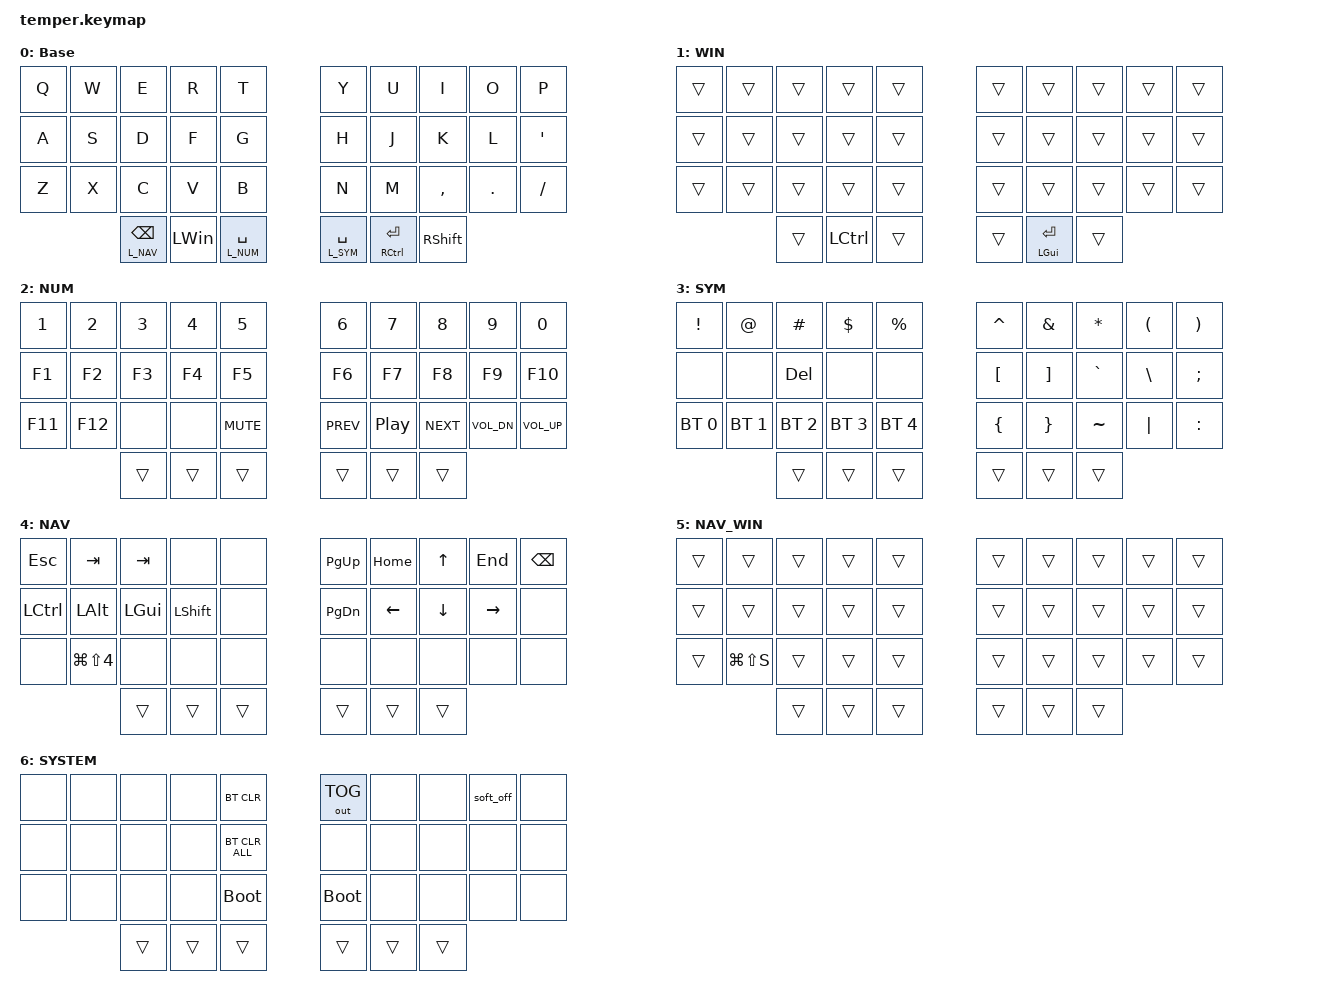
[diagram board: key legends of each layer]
/*
 * Copyright (c) 2020 duckyb
 *
 * SPDX-License-Identifier: MIT
 */

#include <dt-bindings/zmk/mouse.h>
#include <behaviors.dtsi>
#include <dt-bindings/zmk/bt.h>
#include <dt-bindings/zmk/keys.h>
#include <dt-bindings/zmk/outputs.h>

/*
 * Layer numbers. The screens (boards/shields/nice_view_legend) and src/os_layer.c follow them.
 * WIN sits just above Base so the held layers stay on top of it, and NAV_WIN just above NAV.
 */
#define L_BASE 0
#define L_WIN 1
#define L_NUM 2
#define L_SYM 3
#define L_NAV 4
#define L_NAV_WIN 5
#define L_SYSTEM 6

/* Drag out an area to screenshot: Cmd+Shift+4 on a Mac, and Snipping Tool on Windows */
#define SCREENSHOT_MAC LG(LS(N4))
#define SCREENSHOT_WIN LG(LS(S))

&sk { quick-release; };

/* Has to be held this long, so a stray press in a pocket can't turn it off */
&soft_off { hold-time-ms = <2000>; };

/* Balanced so rolling off Enter into the next letter doesn't send Ctrl+letter */
&mt { flavor = "balanced"; };

/*
 * Balanced so a fast roll off a thumb stays a tap, and the idle check so a thumb pressed
 * mid-typing taps straight away instead of waiting to see if it's a hold.
 */
&lt {
    flavor = "balanced";
    quick-tap-ms = <180>;
    require-prior-idle-ms = <125>;
};

/ {
    behaviors {
        hm: hm {
            compatible = "zmk,behavior-hold-tap";
            label = "HM";
            bindings = <&kp>, <&kp>;

            #binding-cells = <2>;
            quick-tap-ms = <170>;
            tapping-term-ms = <190>;
            global-quick-tap;
            flavor = "tap-preferred";
        };

        hml: hml {
            compatible = "zmk,behavior-hold-tap";
            label = "HML";
            bindings = <&kp>, <&kp>;

            #binding-cells = <2>;
            tapping-term-ms = <280>;
            quick-tap-ms = <175>;
            require-prior-idle-ms = <150>;
            flavor = "balanced";
            hold-trigger-on-release;
            hold-trigger-key-positions = <0 1 2 3 4 20 21 22 23 24 14 30 31 32 33 34 35 25 15 5 6 16 26 27 17 7 8 18 28 29 19 9>;
        };

        hmr: hmr {
            compatible = "zmk,behavior-hold-tap";
            label = "HMR";
            bindings = <&kp>, <&kp>;

            #binding-cells = <2>;
            tapping-term-ms = <280>;
            quick-tap-ms = <175>;
            require-prior-idle-ms = <150>;
            flavor = "balanced";
            hold-trigger-on-release;
            hold-trigger-key-positions = <0 10 20 21 1 11 12 2 3 4 24 14 13 23 22 30 31 32 33 34 35 25 26 28 27 29 9 8 7 6 5 15>;
        };

        mo_tog: mo_tog {
            compatible = "zmk,behavior-hold-tap";
            label = "MO_TOG";
            bindings = <&mo>, <&tog>;

            #binding-cells = <2>;
            tapping-term-ms = <200>;
            quick-tap-ms = <180>;
        };
    };

    combos {
        compatible = "zmk,combos";

        a {
            bindings = <&kp ENTER>;
            key-positions = <7 6>;
            layers = <L_BASE L_WIN>;
            timeout-ms = <30>;
        };

        c {
            bindings = <&kp BACKSPACE>;
            key-positions = <7 8>;
            layers = <L_BASE L_WIN>;
            timeout-ms = <30>;
        };

        d {
            bindings = <&kp ESC>;
            key-positions = <1 2>;
            layers = <L_BASE L_WIN>;
        };

        e {
            bindings = <&kp MINUS>;
            key-positions = <16 17>;
            layers = <L_BASE L_WIN>;
        };

        f {
            bindings = <&kp EQUAL>;
            key-positions = <17 18>;
            layers = <L_BASE L_WIN>;
        };

        g {
            bindings = <&kp TAB>;
            key-positions = <11 12>;
            layers = <L_BASE L_WIN>;
        };

        h {
            bindings = <&kp BACKSPACE>;
            key-positions = <9 8>;
            layers = <L_BASE L_WIN>;
        };
    };

    /* Holding both Space thumbs opens SYSTEM, so its keys can't be hit by a fast roll */
    conditional_layers {
        compatible = "zmk,conditional-layers";

        system_layer {
            if-layers = <L_NUM L_SYM>;
            then-layer = <L_SYSTEM>;
        };

        /* NAV on Windows: NAV's keys, with Windows shortcuts where they differ */
        nav_win_layer {
            if-layers = <L_WIN L_NAV>;
            then-layer = <L_NAV_WIN>;
        };
    };

    keymap {
        compatible = "zmk,keymap";

        base {
            label = "Base";
            display-name = "Base";
            bindings = <
  &kp Q  &kp W  &kp E                   &kp R        &kp T                 &kp Y        &kp U      &kp I      &kp O    &kp P
  &kp A  &kp S  &kp D                   &kp F        &kp G                 &kp H        &kp J      &kp K      &kp L    &kp SQT
  &kp Z  &kp X  &kp C                   &kp V        &kp B                 &kp N        &kp M      &kp COMMA  &kp DOT  &kp FSLH
                &lt L_NAV BACKSPACE     &kp LEFT_WIN  &lt L_NUM SPACE      &lt L_SYM SPACE  &mt RCTRL ENTER  &kp RSHFT
            >;
        };

        /*
         * Windows: Ctrl on the left middle thumb in place of Cmd, and holding Enter is Win (for Win+L
         * and the rest) where it was a second Ctrl. src/os_layer.c turns this on while Bluetooth
         * slot 3 (BT_SEL 2, the work computer) is selected and off for the rest.
         */
        win {
            display-name = "WIN";
            bindings = <
  &trans  &trans  &trans  &trans     &trans        &trans  &trans  &trans  &trans  &trans
  &trans  &trans  &trans  &trans     &trans        &trans  &trans  &trans  &trans  &trans
  &trans  &trans  &trans  &trans     &trans        &trans  &trans  &trans  &trans  &trans
                  &trans  &kp LCTRL  &trans        &trans  &mt LGUI ENTER  &trans
            >;
        };

        nav_num {
            display-name = "NUM";
            label = "NUM";
            bindings = <
  &kp N1   &kp N2   &kp N3  &kp N4  &kp N5        &kp N6      &kp N7     &kp N8      &kp N9       &kp N0
  &kp F1   &kp F2   &kp F3  &kp F4  &kp F5        &kp F6      &kp F7     &kp F8      &kp F9       &kp F10
  &kp F11  &kp F12  &none   &none   &kp C_MUTE    &kp C_PREV  &kp C_PP   &kp C_NEXT  &kp C_VOL_DN &kp C_VOL_UP
                    &trans  &trans  &trans        &trans      &trans     &trans
            >;
        };

        /* Bluetooth slots are numbered from 1: Z is slot 1 (BT_SEL 0) along to B, slot 5 (BT_SEL 4) */
        sym {
            label = "SYM";
            display-name = "SYM";
            bindings = <
  &kp EXCLAMATION  &kp AT        &kp HASH      &kp DOLLAR    &kp PERCENT       &kp CARET  &kp AMPERSAND  &kp ASTERISK  &kp LEFT_PARENTHESIS  &kp RIGHT_PARENTHESIS
  &none            &none         &kp DELETE    &none         &none             &kp LBKT   &kp RBKT       &kp GRAVE     &kp BSLH              &kp SEMI
  &bt BT_SEL 0     &bt BT_SEL 1  &bt BT_SEL 2  &bt BT_SEL 3  &bt BT_SEL 4      &kp LBRC   &kp RBRC       &kp TILDE     &kp PIPE              &kp COLON
                                 &trans        &trans        &trans            &trans     &trans         &trans
            >;
        };

        layer_3 {
            display-name = "NAV";
            bindings = <
  &kp ESC    &kp TAB             &kp TAB   &none      &none    &kp PG_UP  &kp HOME  &kp UP    &kp END    &kp BACKSPACE
  &kp LCTRL  &kp LALT            &kp LGUI  &kp LSHFT  &none    &kp PG_DN  &kp LEFT  &kp DOWN  &kp RIGHT  &none
  &none      &kp SCREENSHOT_MAC  &none     &none      &none    &none      &none     &none     &none      &none
                                 &trans    &trans     &trans   &trans     &trans    &trans
            >;
        };

        /* NAV while WIN is on, from the conditional layer above */
        nav_win {
            display-name = "NAV_WIN";
            bindings = <
  &trans  &trans              &trans  &trans  &trans        &trans  &trans  &trans  &trans  &trans
  &trans  &trans              &trans  &trans  &trans        &trans  &trans  &trans  &trans  &trans
  &trans  &kp SCREENSHOT_WIN  &trans  &trans  &trans        &trans  &trans  &trans  &trans  &trans
                              &trans  &trans  &trans        &trans  &trans  &trans
            >;
        };

        /* &bootloader runs on the half the key is on: B for left, N for right */
        system {
            display-name = "SYSTEM";
            bindings = <
  &none  &none  &none   &none   &bt BT_CLR         &out OUT_TOG &none   &none  &soft_off  &none
  &none  &none  &none   &none   &bt BT_CLR_ALL     &none        &none   &none  &none  &none
  &none  &none  &none   &none   &bootloader        &bootloader  &none   &none  &none  &none
                &trans  &trans  &trans             &trans       &trans  &trans
            >;
        };
    };
};
